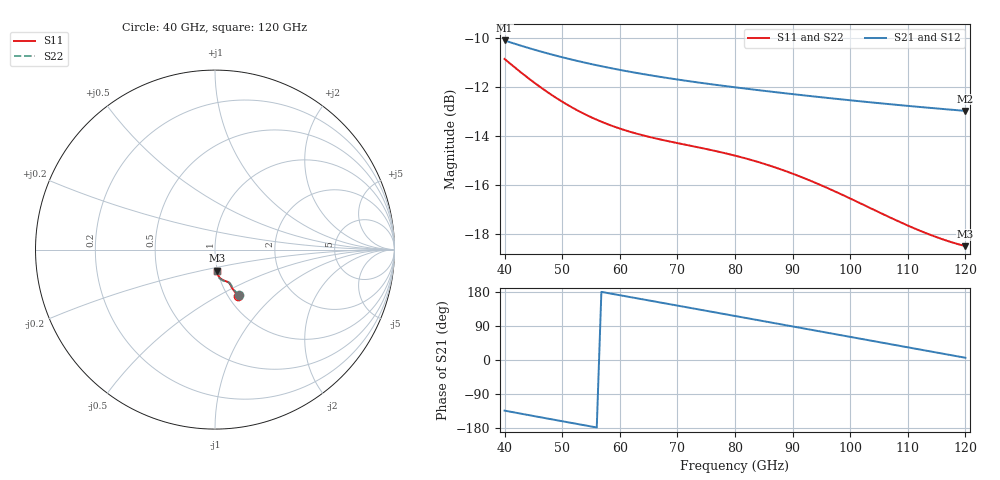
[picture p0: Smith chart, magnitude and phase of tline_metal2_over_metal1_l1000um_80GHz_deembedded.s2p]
! Created with skrf 2.0.1 (http://scikit-rf.org).
# GHz S DB R 50.0
!freq dBS11 angS11 dBS21 angS21 dBS12 angS12 dBS22 angS22
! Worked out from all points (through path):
!   101 points, 40 GHz to 120 GHz, reference 50 ohm
!   highest |S21| = -10.08 dB at 40 GHz (marker M1); lowest = -13.0 dB at 120 GHz (marker M2)
!   group delay of S21, straight-line fit = 7.64 ps
!   lowest |S11| = -18.5 dB at 120 GHz (marker M3), VSWR 1.27, Z = 50 - j11.9 ohm
!   |S11| at or under -10 dB: start of sweep to end of sweep
!   |S22| runs from -18.7 to -10.9 dB; largest |S21 - S12| = 3.1e-13
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40  -10.84 -63.0  -10.08 -133.6  -10.08 -133.6  -10.85 -62.4
43.2  -11.46 -64.4  -10.32 -142.7  -10.32 -142.7  -11.47 -63.8
46.4  -12.03 -65.3  -10.55 -151.6  -10.55 -151.6  -12.02 -64.6
49.6  -12.53 -65.9  -10.75 -160.5  -10.75 -160.5  -12.52 -65.1
53.6  -13.07 -66.3  -10.98 -171.5  -10.98 -171.5  -13.03 -65.5
56.8  -13.41 -66.5  -11.14 179.7  -11.14 179.7  -13.36 -65.7
60  -13.69 -66.7  -11.29 171.0  -11.29 171.0  -13.63 -65.9
63.2  -13.92 -67.1  -11.43 162.2  -11.43 162.2  -13.84 -66.4
67.2  -14.15 -67.9  -11.58 151.3  -11.58 151.3  -14.05 -67.3
73.6  -14.46 -69.9  -11.81 133.7  -11.81 133.7  -14.34 -69.6
76.8  -14.63 -71.3  -11.91 124.9  -11.91 124.9  -14.50 -71.1
80  -14.80 -72.8  -12.00 116.1  -12.00 116.1  -14.67 -72.8
83.2  -15.01 -74.5  -12.10 107.3  -12.10 107.3  -14.88 -74.6
86.4  -15.24 -76.2  -12.19 98.5  -12.19 98.5  -15.11 -76.4
89.6  -15.51 -77.9  -12.27 89.7  -12.27 89.7  -15.38 -78.3
93.6  -15.88 -79.8  -12.38 78.7  -12.38 78.7  -15.76 -80.5
96.8  -16.21 -81.2  -12.46 69.8  -12.46 69.8  -16.10 -82.1
100  -16.56 -82.4  -12.54 61.0  -12.54 61.0  -16.46 -83.5
107.2  -17.37 -83.9  -12.70 41.2  -12.70 41.2  -17.33 -85.6
113.6  -18.02 -84.0  -12.84 23.5  -12.84 23.5  -18.06 -86.2
116.8  -18.29 -83.7  -12.91 14.7  -12.91 14.7  -18.38 -86.1
120  -18.52 -83.3  -12.97 5.9  -12.97 5.9  -18.65 -85.9
